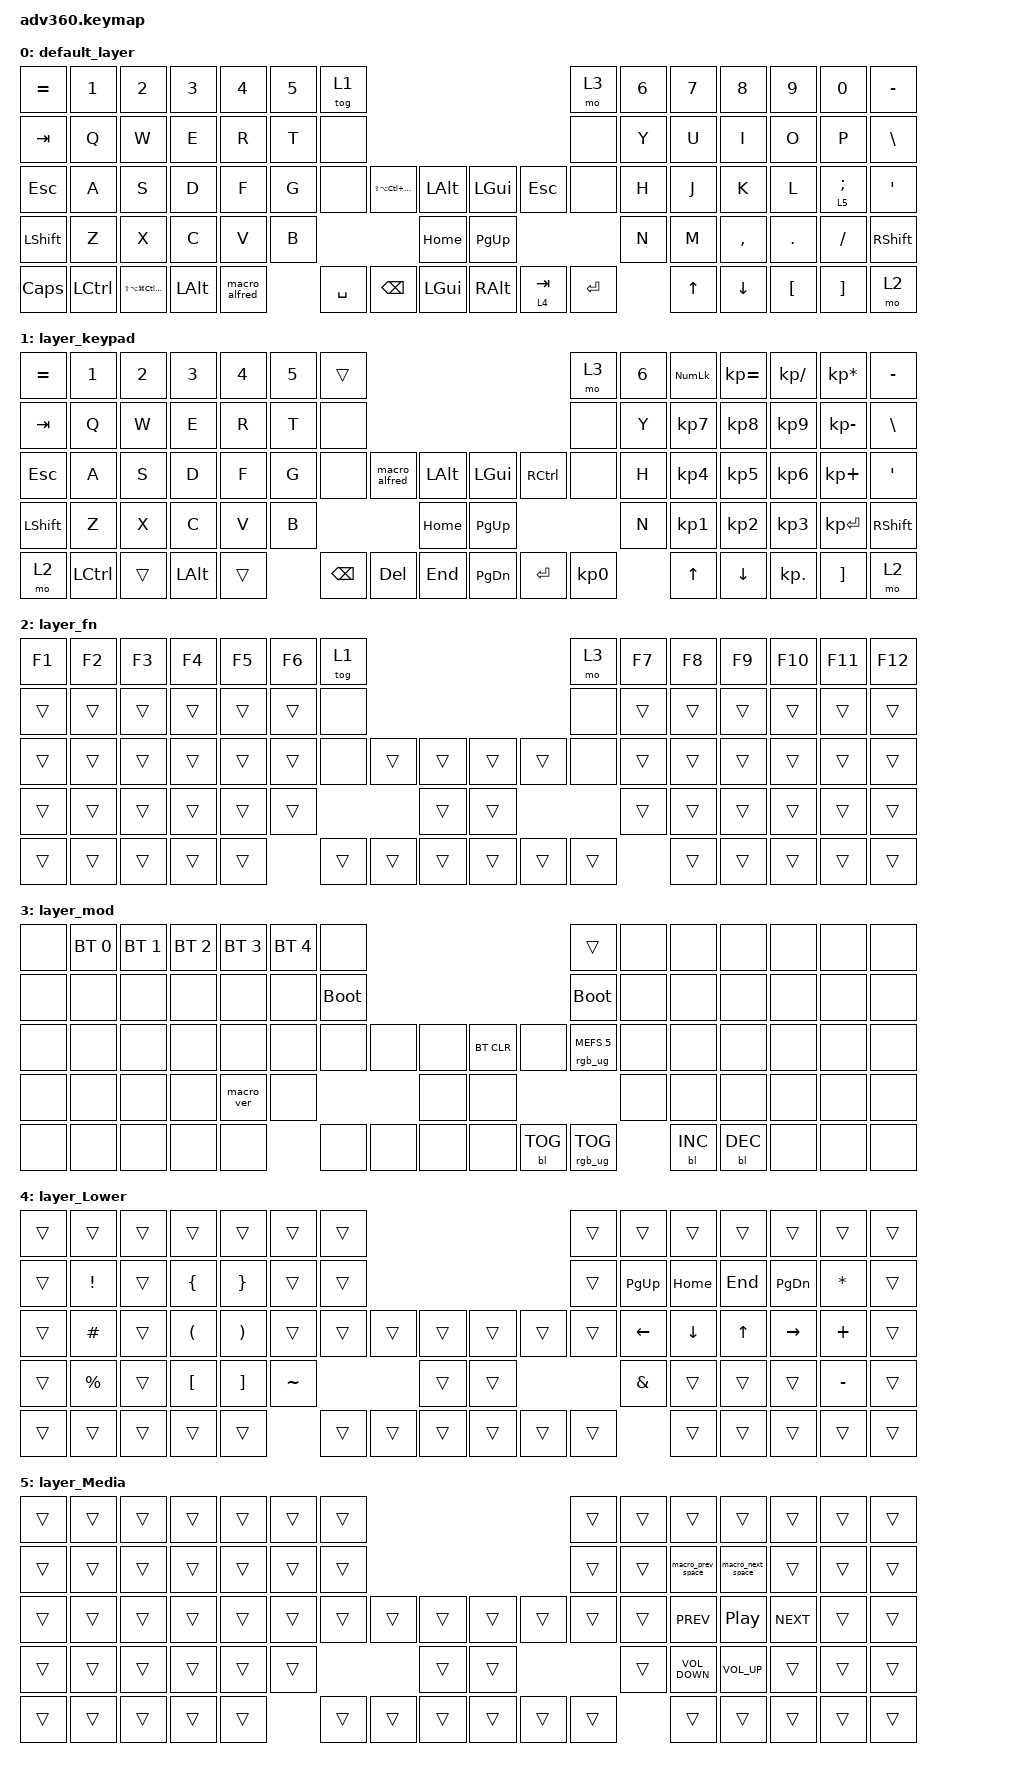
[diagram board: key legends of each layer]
/*
 * Copyright (c) 2020 The ZMK Contributors
 *
 * SPDX-License-Identifier: MIT
 */
/* THIS FILE WAS GENERATED!
 *
 * This file was generated automatically. You may or may not want to
 * edit it directly.
 */

#include <behaviors.dtsi>
#include <dt-bindings/zmk/backlight.h>
#include <dt-bindings/zmk/bt.h>
#include <dt-bindings/zmk/keys.h>
#include <dt-bindings/zmk/rgb.h>

/ {
    behaviors {
        #include "macros.dtsi"
    #include "version.dtsi"

        hm: homerow_mods {
            compatible = "zmk,behavior-hold-tap";
            label = "HOMEROW_MODS";
            #binding-cells = <2>;
            tapping-term-ms = <200>;
            quick_tap_ms = <175>;
            flavor = "tap-preferred";
            bindings = <&kp>, <&kp>;
        };
    };

    keymap {
        compatible = "zmk,keymap";

        default_layer {
            bindings = <
&kp EQUAL     &kp N1     &kp N2                     &kp N3    &kp N4         &kp N5  &tog 1                                                                    &mo 3      &kp N6  &kp N7  &kp N8     &kp N9    &kp N0           &kp MINUS
&kp TAB       &kp Q      &kp W                      &kp E     &kp R          &kp T   &none                                                                     &none      &kp Y   &kp U   &kp I      &kp O     &kp P            &kp BSLH
&kp ESC       &kp A      &kp S                      &kp D     &kp F          &kp G   &none      &kp LS(LA(LC(LG(LSHFT))))  &kp LALT      &kp LGUI   &kp ESC    &none      &kp H   &kp J   &kp K      &kp L     &lt 5 SEMICOLON  &kp SQT
&kp LSHFT     &kp Z      &kp X                      &kp C     &kp V          &kp B                                         &kp HOME      &kp PG_UP                        &kp N   &kp M   &kp COMMA  &kp DOT   &kp FSLH         &kp RSHFT
&kp CAPSLOCK  &kp LCTRL  &kp LS(LA(LG(LC(LSHFT))))  &kp LALT  &macro_alfred          &kp SPACE  &kp BACKSPACE              &kp LGUI      &kp RALT   &lt 4 TAB  &kp ENTER          &kp UP  &kp DOWN   &kp LBKT  &kp RBKT         &mo 2
            >;
        };

        layer_keypad {
            bindings = <
&kp EQUAL  &kp N1     &kp N2  &kp N3    &kp N4  &kp N5  &trans                                                       &mo 3      &kp N6  &kp KP_NUM  &kp KP_EQUAL  &kp KP_DIVIDE  &kp KP_MULTIPLY  &kp MINUS
&kp TAB    &kp Q      &kp W   &kp E     &kp R   &kp T   &none                                                        &none      &kp Y   &kp KP_N7   &kp KP_N8     &kp KP_N9      &kp KP_MINUS     &kp BSLH
&kp ESC    &kp A      &kp S   &kp D     &kp F   &kp G   &none     &macro_alfred  &kp LALT      &kp LGUI   &kp RCTRL  &none      &kp H   &kp KP_N4   &kp KP_N5     &kp KP_N6      &kp KP_PLUS      &kp SQT
&kp LSHFT  &kp Z      &kp X   &kp C     &kp V   &kp B                            &kp HOME      &kp PG_UP                        &kp N   &kp KP_N1   &kp KP_N2     &kp KP_N3      &kp KP_ENTER     &kp RSHFT
&mo 2      &kp LCTRL  &trans  &kp LALT  &trans          &kp BSPC  &kp DEL        &kp END       &kp PG_DN  &kp ENTER  &kp KP_N0          &kp UP      &kp DOWN      &kp KP_DOT     &kp RBKT         &mo 2
            >;
        };

        layer_fn {
            bindings = <
&kp F1  &kp F2  &kp F3  &kp F4  &kp F5  &kp F6  &tog 1                                      &mo 3   &kp F7  &kp F8  &kp F9  &kp F10  &kp F11  &kp F12
&trans  &trans  &trans  &trans  &trans  &trans  &none                                       &none   &trans  &trans  &trans  &trans   &trans   &trans
&trans  &trans  &trans  &trans  &trans  &trans  &none   &trans  &trans      &trans  &trans  &none   &trans  &trans  &trans  &trans   &trans   &trans
&trans  &trans  &trans  &trans  &trans  &trans                  &trans      &trans                  &trans  &trans  &trans  &trans   &trans   &trans
&trans  &trans  &trans  &trans  &trans          &trans  &trans  &trans      &trans  &trans  &trans          &trans  &trans  &trans   &trans   &trans
            >;
        };

        layer_mod {
            bindings = <
&none  &bt BT_SEL 0  &bt BT_SEL 1  &bt BT_SEL 2  &bt BT_SEL 3  &bt BT_SEL 4  &none                                                  &trans                  &none  &none       &none       &none  &none  &none
&none  &none         &none         &none         &none         &none         &bootloader                                            &bootloader             &none  &none       &none       &none  &none  &none
&none  &none         &none         &none         &none         &none         &none        &none  &none      &bt BT_CLR  &none       &rgb_ug RGB_MEFS_CMD 5  &none  &none       &none       &none  &none  &none
&none  &none         &none         &none         &macro_ver    &none                             &none      &none                                           &none  &none       &none       &none  &none  &none
&none  &none         &none         &none         &none                       &none        &none  &none      &none       &bl BL_TOG  &rgb_ug RGB_TOG                &bl BL_INC  &bl BL_DEC  &none  &none  &none
            >;
        };

        layer_Lower {
            bindings = <
&trans  &trans           &trans  &trans                &trans                 &trans     &trans                                      &trans  &trans         &trans    &trans   &trans         &trans        &trans
&trans  &kp EXCLAMATION  &trans  &kp LEFT_BRACE        &kp RIGHT_BRACE        &trans     &trans                                      &trans  &kp PAGE_UP    &kp HOME  &kp END  &kp PAGE_DOWN  &kp ASTERISK  &trans
&trans  &kp HASH         &trans  &kp LEFT_PARENTHESIS  &kp RIGHT_PARENTHESIS  &trans     &trans  &trans  &trans      &trans  &trans  &trans  &kp LEFT       &kp DOWN  &kp UP   &kp RIGHT      &kp PLUS      &trans
&trans  &kp PERCENT      &trans  &kp LBKT              &kp RIGHT_BRACKET      &kp TILDE                  &trans      &trans                  &kp AMPERSAND  &trans    &trans   &trans         &kp MINUS     &trans
&trans  &trans           &trans  &trans                &trans                            &trans  &trans  &trans      &trans  &trans  &trans                 &trans    &trans   &trans         &trans        &trans
            >;
        };

        layer_Media {
            bindings = <
&trans  &trans  &trans  &trans  &trans  &trans  &trans                                      &trans  &trans  &trans             &trans             &trans      &trans  &trans
&trans  &trans  &trans  &trans  &trans  &trans  &trans                                      &trans  &trans  &macro_prev_space  &macro_next_space  &trans      &trans  &trans
&trans  &trans  &trans  &trans  &trans  &trans  &trans  &trans  &trans      &trans  &trans  &trans  &trans  &kp C_PREV         &kp C_PP           &kp C_NEXT  &trans  &trans
&trans  &trans  &trans  &trans  &trans  &trans                  &trans      &trans                  &trans  &kp K_VOLUME_DOWN  &kp K_VOLUME_UP    &trans      &trans  &trans
&trans  &trans  &trans  &trans  &trans          &trans  &trans  &trans      &trans  &trans  &trans          &trans             &trans             &trans      &trans  &trans
            >;
        };
    };
};
